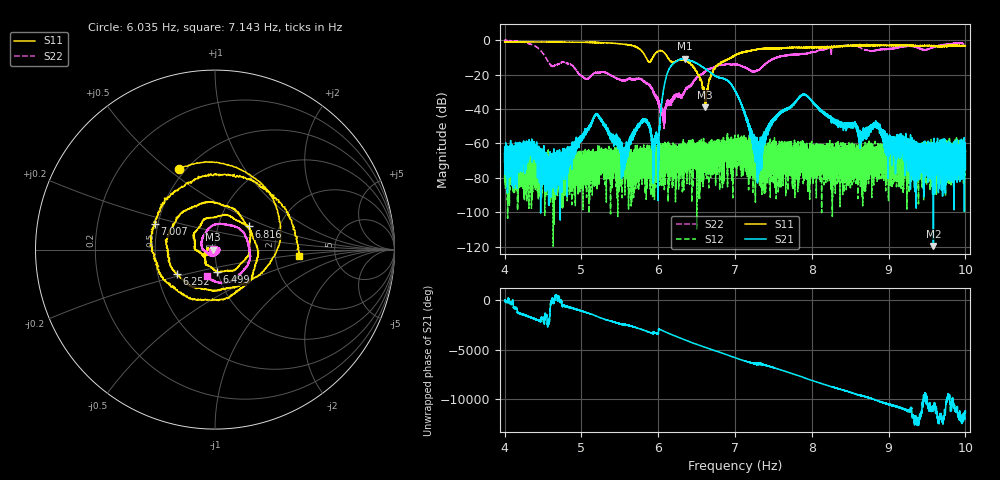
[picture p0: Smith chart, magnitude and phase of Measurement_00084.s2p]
!Created with skrf (http://scikit-rf.org).
# Hz S RI R 50.0
!freq ReS11 ImS11 ReS21 ImS21 ReS12 ImS12 ReS22 ImS22
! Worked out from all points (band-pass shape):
!   14001 points, 4 Hz to 10 Hz, reference 50 ohm
!   highest |S21| = -10.77 dB at 6.343 Hz (marker M1); lowest = -119.8 dB at 9.583 Hz (marker M2)
!   |S21| within 3 dB of the highest: 6.191 Hz to 6.514 Hz (323.3 mHz wide, 5.09 % of centre); 6.51446 Hz to 6.515202 Hz (741.6 uHz wide, 0.0114 % of centre)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
!   lowest |S11| = -39.1 dB at 6.612 Hz (marker M3), VSWR 1.02, Z = 48.9 - j0.0112 ohm
!   |S11| at or under -10 dB: 5.84 Hz to 5.93 Hz (89.93 mHz wide, 1.53 % of centre); 6.122 Hz to 6.954 Hz (832 mHz wide, 12.7 % of centre); 6.956237 Hz to 6.956791 Hz (554 uHz wide, 0.00796 % of centre)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
!   |S22| runs from -51.4 to -0.2 dB; largest |S21 - S12| = 0.29
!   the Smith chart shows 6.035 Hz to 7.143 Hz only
!   S11 on the Smith chart (normalised r, x): 6.035 Hz: 0.46, +0.55; 6.252 Hz: 0.63, -0.18; 6.499 Hz: 0.99, -0.25; 6.816 Hz: 1.40, +0.38; 7.007 Hz: 0.48, +0.16; 7.143 Hz: 2.76, -0.25
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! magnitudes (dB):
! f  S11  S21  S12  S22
! 4 Hz  -1.0  -66.2  -78.6  -0.2
! 4.597 Hz  -1.1  -76.9  -94.1  -14.4
! 5 Hz  -1.2  -57.3  -73.1  -20.6
! 5.199 Hz  -1.4  -43.0  -81.3  -18.7
! 5.55 Hz  -2.4  -69.6  -69.4  -23.4
! 5.8 Hz  -7.0  -46.7  -72.3  -23.5
! 6 Hz  -6.4  -64.6  -73.3  -34.8
! 6.035 Hz  -6.1  -40.4  -68.9  -40.1
! 6.115 Hz  -9.4  -19.7  -64.5  -35.1
! 6.252 Hz  -12.0  -11.9  -61.9  -31.7
! 6.343 Hz  -11.4  -10.8  -62.7  -29.7
! 6.499 Hz  -18.0  -13.4  -68.0  -21.8
! 6.612 Hz  -39.1  -16.6  -69.8  -18.2
! 6.816 Hz  -12.9  -21.9  -63.6  -14.7
! 7 Hz  -8.8  -29.3  -58.2  -14.1
! 7.007 Hz  -8.8  -29.9  -63.3  -14.1
! 7.143 Hz  -6.5  -45.1  -63.9  -16.2
! 7.305 Hz  -5.3  -65.1  -62.5  -17.3
! 8 Hz  -4.4  -35.2  -67.3  -6.9
! 9 Hz  -3.1  -63.4  -81.7  -5.0
! 9.583 Hz  -3.4  -119.8  -75.8  -4.3
! 10 Hz  -3.5  -75.0  -65.3  -3.1
